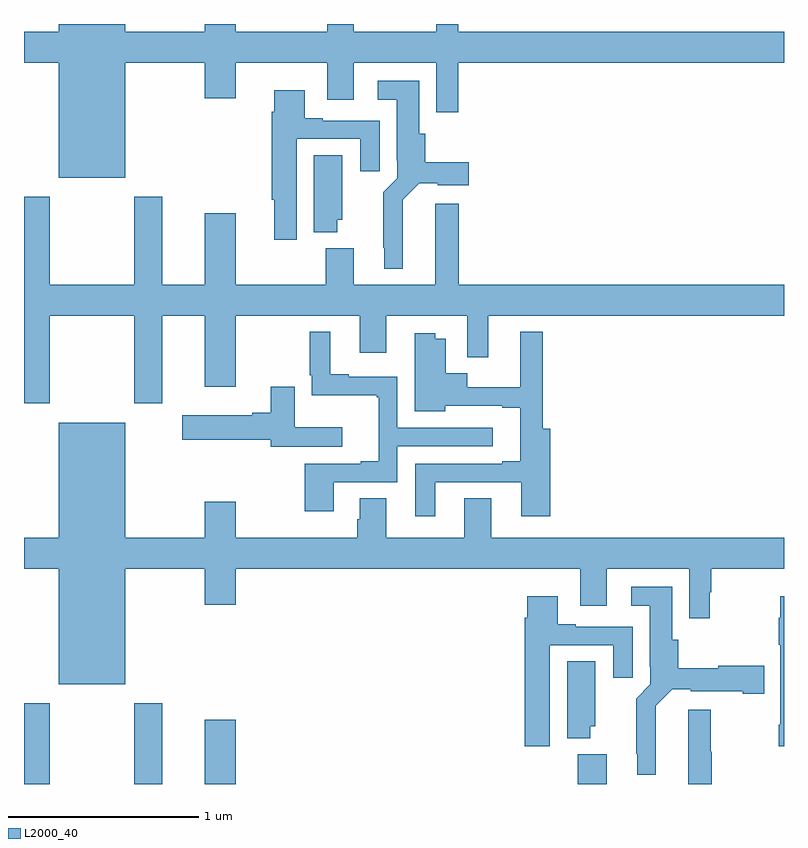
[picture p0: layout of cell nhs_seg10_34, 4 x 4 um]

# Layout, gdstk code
import gdstk
lib = gdstk.Library(unit=1e-6, precision=1e-09)
def R(c, l, rs):  # rectangles x0, y0, x1, y1
    for r in rs: c.add(gdstk.rectangle(r[:2], r[2:], *l))
def P(c, l, *ps):  # polygons
    for p in ps: c.add(gdstk.Polygon(p, *l))
L2000_40 = (2000, 40)

nhs_seg10_34 = lib.new_cell('nhs_seg10_34')
R(nhs_seg10_34, L2000_40, [(111,1316.5,111.135,1316.926), (111.58,1316.5,111.727,1316.926), (111.95,1316.5,112.114,1316.839), (113.915,1316.5,114.067,1316.656)])
P(nhs_seg10_34, L2000_40, [(111.532,1320.296),(111.95,1320.296),(111.95,1320.108),(112.114,1320.108),(112.114,1320.296),(112.595,1320.296),(112.595,1320.102),(112.735,1320.102),(112.735,1320.296),(113.169,1320.296),(113.169,1320.036),(113.285,1320.036),(113.285,1320.296),(115,1320.296),(115,1320.46),(113.285,1320.46),(113.285,1320.5),(113.169,1320.5),(113.169,1320.46),(112.735,1320.46),(112.735,1320.5),(112.595,1320.5),(112.595,1320.46),(112.114,1320.46),(112.114,1320.5),(111.95,1320.5),(111.95,1320.46),(111.532,1320.46),(111.532,1320.5),(111.182,1320.5),(111.182,1320.46),(111,1320.46),(111,1320.296),(111.182,1320.296),(111.182,1319.69),(111.532,1319.69)],
  [(112.993,1319.576),(113.079,1319.663),(113.178,1319.663),(113.178,1319.651),(113.341,1319.651),(113.341,1319.773),(113.111,1319.773),(113.111,1319.922),(113.08,1319.922),(113.08,1320.202),(112.863,1320.202),(112.863,1320.101),(112.961,1320.101),(112.961,1319.782),(112.965,1319.782),(112.965,1319.688),(112.891,1319.614),(112.891,1319.323),(112.895,1319.323),(112.895,1319.213),(112.993,1319.213)],
  [(112.435,1319.895),(112.769,1319.895),(112.769,1319.724),(112.873,1319.724),(112.873,1319.991),(112.573,1319.991),(112.573,1320.004),(112.477,1320.004),(112.477,1320.151),(112.316,1320.151),(112.316,1320.038),(112.304,1320.038),(112.304,1319.576),(112.316,1319.576),(112.316,1319.364),(112.435,1319.364)],
  [(112.648,1319.469),(112.675,1319.469),(112.675,1319.81),(112.526,1319.81),(112.526,1319.405),(112.648,1319.405)],
  [(111.135,1318.964),(111.58,1318.964),(111.58,1318.503),(111.727,1318.503),(111.727,1318.964),(111.95,1318.964),(111.95,1318.59),(112.114,1318.59),(112.114,1318.964),(112.766,1318.964),(112.766,1318.77),(112.906,1318.77),(112.906,1318.964),(113.333,1318.964),(113.333,1318.746),(113.443,1318.746),(113.443,1318.964),(115,1318.964),(115,1319.128),(113.288,1319.128),(113.288,1319.554),(113.165,1319.554),(113.165,1319.128),(112.735,1319.128),(112.735,1319.32),(112.588,1319.32),(112.588,1319.128),(112.114,1319.128),(112.114,1319.503),(111.95,1319.503),(111.95,1319.128),(111.727,1319.128),(111.727,1319.59),(111.58,1319.59),(111.58,1319.128),(111.135,1319.128),(111.135,1319.59),(111,1319.59),(111,1318.503),(111.135,1318.503)],
  [(113.164,1318.089),(113.618,1318.089),(113.618,1317.909),(113.771,1317.909),(113.771,1318.369),(113.731,1318.369),(113.731,1318.879),(113.612,1318.879),(113.612,1318.588),(113.332,1318.588),(113.332,1318.663),(113.221,1318.663),(113.221,1318.843),(113.164,1318.843),(113.164,1318.873),(113.057,1318.873),(113.057,1318.463),(113.217,1318.463),(113.217,1318.491),(113.516,1318.491),(113.516,1318.479),(113.612,1318.479),(113.612,1318.198),(113.516,1318.198),(113.516,1318.185),(113.06,1318.185),(113.06,1317.909),(113.164,1317.909)],
  [(112.63,1318.089),(112.965,1318.089),(112.965,1318.278),(113.467,1318.278),(113.467,1318.374),(112.965,1318.374),(112.965,1318.644),(112.708,1318.644),(112.708,1318.657),(112.612,1318.657),(112.612,1318.879),(112.503,1318.879),(112.503,1318.651),(112.515,1318.651),(112.515,1318.547),(112.857,1318.547),(112.857,1318.536),(112.868,1318.536),(112.868,1318.198),(112.772,1318.198),(112.772,1318.185),(112.478,1318.185),(112.478,1317.936),(112.63,1317.936)],
  [(112.675,1318.378),(112.426,1318.378),(112.426,1318.591),(112.298,1318.591),(112.298,1318.454),(112.202,1318.454),(112.202,1318.441),(111.834,1318.441),(111.834,1318.312),(112.298,1318.312),(112.298,1318.274),(112.675,1318.274)],
  [(111.532,1317.632),(111.95,1317.632),(111.95,1317.444),(112.114,1317.444),(112.114,1317.632),(113.927,1317.632),(113.927,1317.438),(114.067,1317.438),(114.067,1317.632),(114.501,1317.632),(114.501,1317.372),(114.61,1317.372),(114.61,1317.51),(114.617,1317.51),(114.617,1317.632),(115,1317.632),(115,1317.796),(113.458,1317.796),(113.458,1318.004),(113.318,1318.004),(113.318,1317.796),(112.906,1317.796),(112.906,1318.004),(112.766,1318.004),(112.766,1317.894),(112.754,1317.894),(112.754,1317.796),(112.114,1317.796),(112.114,1317.985),(111.95,1317.985),(111.95,1317.796),(111.532,1317.796),(111.532,1318.402),(111.182,1318.402),(111.182,1317.796),(111,1317.796),(111,1317.632),(111.182,1317.632),(111.182,1317.026),(111.532,1317.026)],
  [(114.325,1316.912),(114.411,1316.999),(114.51,1316.999),(114.51,1316.987),(114.782,1316.987),(114.782,1316.975),(114.895,1316.975),(114.895,1317.122),(114.654,1317.122),(114.654,1317.109),(114.443,1317.109),(114.443,1317.258),(114.412,1317.258),(114.412,1317.538),(114.195,1317.538),(114.195,1317.437),(114.293,1317.437),(114.293,1317.118),(114.297,1317.118),(114.297,1317.024),(114.223,1316.95),(114.223,1316.659),(114.227,1316.659),(114.227,1316.549),(114.325,1316.549)],
  [(115,1317.487),(114.98,1317.487),(114.98,1317.374),(114.973,1317.374),(114.973,1317.234),(114.98,1317.234),(114.98,1316.812),(114.973,1316.812),(114.973,1316.7),(115,1316.7)],
  [(113.767,1317.231),(114.101,1317.231),(114.101,1317.06),(114.205,1317.06),(114.205,1317.327),(113.905,1317.327),(113.905,1317.34),(113.809,1317.34),(113.809,1317.487),(113.648,1317.487),(113.648,1317.374),(113.636,1317.374),(113.636,1316.7),(113.767,1316.7)],
  [(113.98,1316.805),(114.007,1316.805),(114.007,1317.146),(113.858,1317.146),(113.858,1316.741),(113.98,1316.741)],
  [(114.62,1316.669),(114.615,1316.669),(114.615,1316.89),(114.497,1316.89),(114.497,1316.5),(114.62,1316.5)])

lib.write_gds('nhs_seg10_34.gds')
